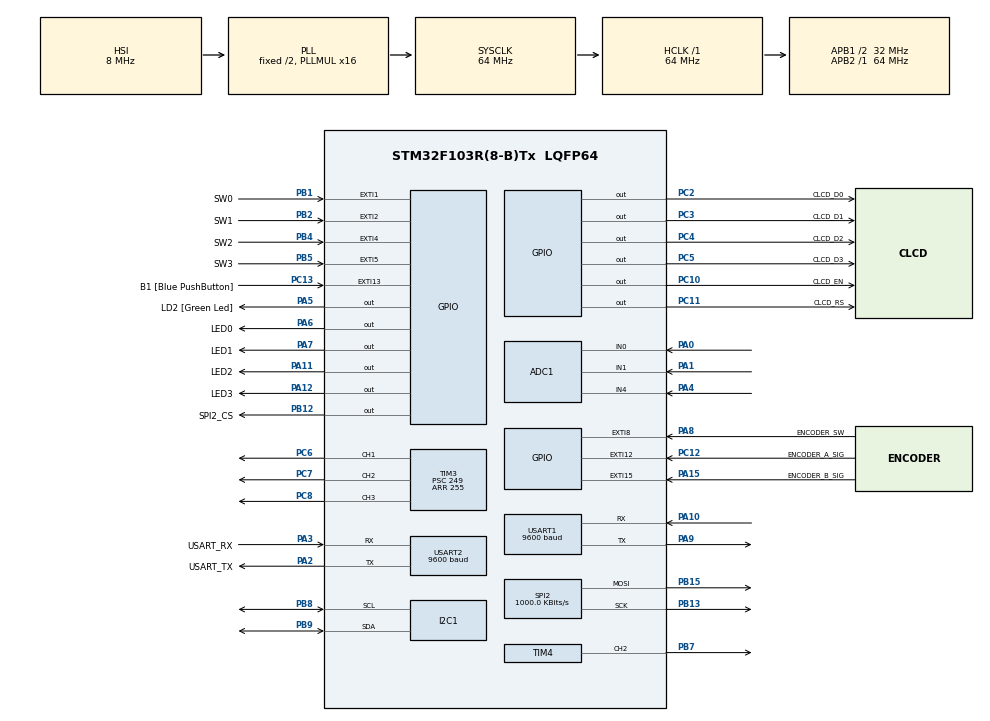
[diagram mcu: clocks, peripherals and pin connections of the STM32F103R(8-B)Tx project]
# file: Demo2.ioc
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ADC1.Channel-0\#ChannelRegularConversion=ADC_CHANNEL_0
ADC1.Channel-3\#ChannelRegularConversion=ADC_CHANNEL_1
ADC1.Channel-5\#ChannelRegularConversion=ADC_CHANNEL_4
ADC1.ContinuousConvMode=ENABLE
ADC1.NbrOfConversion=3
ADC1.NbrOfConversionFlag=1
ADC1.Rank-0\#ChannelRegularConversion=1
ADC1.Rank-3\#ChannelRegularConversion=2
ADC1.Rank-5\#ChannelRegularConversion=3
ADC1.SamplingTime-0\#ChannelRegularConversion=ADC_SAMPLETIME_239CYCLES_5
ADC1.SamplingTime-3\#ChannelRegularConversion=ADC_SAMPLETIME_239CYCLES_5
ADC1.SamplingTime-5\#ChannelRegularConversion=ADC_SAMPLETIME_239CYCLES_5
ADC1.master=1
Dma.ADC1.0.Direction=DMA_PERIPH_TO_MEMORY
Dma.ADC1.0.Instance=DMA1_Channel1
Dma.ADC1.0.MemDataAlignment=DMA_MDATAALIGN_HALFWORD
Dma.ADC1.0.MemInc=DMA_MINC_ENABLE
Dma.ADC1.0.Mode=DMA_CIRCULAR
Dma.ADC1.0.PeriphDataAlignment=DMA_PDATAALIGN_HALFWORD
Dma.ADC1.0.PeriphInc=DMA_PINC_DISABLE
Dma.ADC1.0.Priority=DMA_PRIORITY_LOW
Dma.Request0=ADC1
I2C1.I2C_Mode=I2C_Fast
Mcu.Family=STM32F1
Mcu.Name=STM32F103R(8-B)Tx
Mcu.Package=LQFP64
NVIC.DMA1_Channel1_IRQn=true\:0\:0\:false\:false\:true\:false\:true\:true
NVIC.EXTI15_10_IRQn=true\:0\:0\:false\:false\:true\:true\:true\:true
NVIC.EXTI1_IRQn=true\:0\:0\:false\:false\:true\:true\:true\:true
NVIC.EXTI2_IRQn=true\:0\:0\:false\:false\:true\:true\:true\:true
NVIC.EXTI4_IRQn=true\:0\:0\:false\:false\:true\:true\:true\:true
NVIC.EXTI9_5_IRQn=true\:0\:0\:false\:false\:true\:true\:true\:true
NVIC.PriorityGroup=NVIC_PRIORITYGROUP_4
NVIC.TIM2_IRQn=true\:0\:0\:false\:false\:true\:true\:true\:true
NVIC.USART1_IRQn=true\:0\:0\:false\:false\:true\:true\:false\:true
PA0-WKUP.Signal=ADCx_IN0
PA1.Signal=ADCx_IN1
PA10.Mode=Asynchronous
PA10.Signal=USART1_RX
PA11.GPIO_Label=LED2
PA11.Signal=GPIO_Output
PA12.GPIO_Label=LED3
PA12.Signal=GPIO_Output
PA13.GPIO_Label=TMS
PA13.Mode=Serial_Wire
PA13.Signal=SYS_JTMS-SWDIO
PA14.GPIO_Label=TCK
PA14.Mode=Serial_Wire
PA14.Signal=SYS_JTCK-SWCLK
PA15.GPIO_Label=ENCODER_B_SIG
PA15.Signal=GPXTI15
PA2.GPIO_Label=USART_TX
PA2.GPIO_Mode=GPIO_MODE_AF_PP
PA2.GPIO_PuPd=GPIO_NOPULL
PA2.GPIO_Speed=GPIO_SPEED_FREQ_LOW
PA2.Mode=Asynchronous
PA2.Signal=USART2_TX
PA3.GPIO_Label=USART_RX
PA3.GPIO_Mode=GPIO_MODE_AF_PP
PA3.GPIO_PuPd=GPIO_NOPULL
PA3.GPIO_Speed=GPIO_SPEED_FREQ_LOW
PA3.Mode=Asynchronous
PA3.Signal=USART2_RX
PA4.Signal=ADCx_IN4
PA5.GPIO_Label=LD2 [Green Led]
PA5.GPIO_ModeDefaultOutputPP=GPIO_MODE_OUTPUT_PP
PA5.GPIO_PuPd=GPIO_NOPULL
PA5.GPIO_Speed=GPIO_SPEED_FREQ_LOW
PA5.Signal=GPIO_Output
PA6.GPIO_Label=LED0
PA6.Signal=GPIO_Output
PA7.GPIO_Label=LED1
PA7.Signal=GPIO_Output
PA8.GPIO_Label=ENCODER_SW
PA8.GPIO_ModeDefaultEXTI=GPIO_MODE_IT_FALLING
PA8.Signal=GPXTI8
PA9.Mode=Asynchronous
PA9.Signal=USART1_TX
PB1.GPIO_Label=SW0
PB1.GPIO_ModeDefaultEXTI=GPIO_MODE_IT_RISING_FALLING
PB1.Signal=GPXTI1
PB12.GPIO_Label=SPI2_CS
PB12.Signal=GPIO_Output
PB13.Mode=TX_Only_Simplex_Unidirect_Master
PB13.Signal=SPI2_SCK
PB15.Mode=TX_Only_Simplex_Unidirect_Master
PB15.Signal=SPI2_MOSI
PB2.GPIO_Label=SW1
PB2.GPIO_ModeDefaultEXTI=GPIO_MODE_IT_RISING_FALLING
PB2.Signal=GPXTI2
PB3.GPIO_Label=SWO
PB3.Signal=SYS_JTDO-TRACESWO
PB4.GPIO_Label=SW2
PB4.GPIO_ModeDefaultEXTI=GPIO_MODE_IT_RISING_FALLING
PB4.Signal=GPXTI4
PB5.GPIO_Label=SW3
PB5.GPIO_ModeDefaultEXTI=GPIO_MODE_IT_RISING_FALLING
PB5.Signal=GPXTI5
PB7.Signal=S_TIM4_CH2
PB8.Mode=I2C
PB8.Signal=I2C1_SCL
PB9.Mode=I2C
PB9.Signal=I2C1_SDA
PC10.GPIO_Label=CLCD_EN
PC10.Signal=GPIO_Output
PC11.GPIO_Label=CLCD_RS
PC11.Signal=GPIO_Output
PC12.GPIO_Label=ENCODER_A_SIG
PC12.Signal=GPXTI12
PC13-TAMPER-RTC.GPIO_Label=B1 [Blue PushButton]
PC13-TAMPER-RTC.GPIO_PuPd=GPIO_NOPULL
PC13-TAMPER-RTC.Signal=GPXTI13
PC2.GPIO_Label=CLCD_D0
PC2.Signal=GPIO_Output
PC3.GPIO_Label=CLCD_D1
PC3.Signal=GPIO_Output
PC4.GPIO_Label=CLCD_D2
PC4.Signal=GPIO_Output
PC5.GPIO_Label=CLCD_D3
PC5.Signal=GPIO_Output
PC6.Signal=S_TIM3_CH1
PC7.Signal=S_TIM3_CH2
PC8.Signal=S_TIM3_CH3
ProjectManager.HeapSize=0x200
ProjectManager.StackSize=0x400
ProjectManager.TargetToolchain=STM32CubeIDE
RCC.ADCPresc=RCC_ADCPCLK2_DIV8
RCC.AHBFreq_Value=64000000
RCC.APB1CLKDivider=RCC_HCLK_DIV2
RCC.APB1Freq_Value=32000000
RCC.APB1TimFreq_Value=64000000
RCC.APB2Freq_Value=64000000
RCC.APB2TimFreq_Value=64000000
RCC.HCLKFreq_Value=64000000
RCC.PLLMUL=RCC_PLL_MUL16
RCC.RTCClockSelection=RCC_RTCCLKSOURCE_LSE
RCC.SYSCLKFreq_VALUE=64000000
RCC.SYSCLKSource=RCC_SYSCLKSOURCE_PLLCLK
RCC.USBFreq_Value=64000000
SH.ADCx_IN0.0=ADC1_IN0,IN0
SH.ADCx_IN1.0=ADC1_IN1,IN1
SH.ADCx_IN4.0=ADC1_IN4,IN4
SH.S_TIM3_CH1.0=TIM3_CH1,PWM Generation1 CH1
SH.S_TIM3_CH2.0=TIM3_CH2,PWM Generation2 CH2
SH.S_TIM3_CH3.0=TIM3_CH3,PWM Generation3 CH3
SH.S_TIM4_CH2.0=TIM4_CH2,PWM Generation2 CH2
SPI2.BaudRatePrescaler=SPI_BAUDRATEPRESCALER_32
SPI2.CLKPhase=SPI_PHASE_2EDGE
SPI2.CalculateBaudRate=1000.0 KBits/s
SPI2.Direction=SPI_DIRECTION_2LINES
SPI2.Mode=SPI_MODE_MASTER
SPI2.VirtualType=VM_MASTER
TIM2.Period=49999
TIM2.Prescaler=63
TIM3.Channel-PWM\ Generation1\ CH1=TIM_CHANNEL_1
TIM3.Channel-PWM\ Generation2\ CH2=TIM_CHANNEL_2
TIM3.Channel-PWM\ Generation3\ CH3=TIM_CHANNEL_3
TIM3.Period=255
TIM3.Prescaler=249
TIM4.Channel-PWM\ Generation2\ CH2=TIM_CHANNEL_2
TIM4.OCPolarity_2=TIM_OCPOLARITY_LOW
TIM4.Period=19999
TIM4.Prescaler=63
TIM4.Pulse-PWM\ Generation2\ CH2=1500
USART1.BaudRate=9600
USART1.VirtualMode=VM_ASYNC
USART2.BaudRate=9600
USART2.VirtualMode=VM_ASYNC
VP_TIM2_VS_ClockSourceINT.Mode=Internal
VP_TIM3_VS_ClockSourceINT.Mode=Internal
VP_TIM4_VS_ClockSourceINT.Mode=Internal
board=NUCLEO-F103RB

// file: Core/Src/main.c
/* USER CODE BEGIN Header */
/**
 ******************************************************************************
 * @file           : main.c
 * @brief          : Main program body
 ******************************************************************************
 * @attention
 *
 * Copyright (c) 2024 STMicroelectronics.
 * All rights reserved.
 *
 * This software is licensed under terms that can be found in the LICENSE file
 * in the root directory of this software component.
 * If no LICENSE file comes with this software, it is provided AS-IS.
 *
 ******************************************************************************
 */
/* USER CODE END Header */
#include "main.h"

/* USER CODE BEGIN Includes */

#include "hj_adc.h"
#include "hj_ble.h"
#include "hj_spi.h"
#include "hj_i2c.h"
#include "hj_tim.h"
#include "hj_gpio.h"

/* USER CODE END Includes */

ADC_HandleTypeDef hadc1;
DMA_HandleTypeDef hdma_adc1;

I2C_HandleTypeDef hi2c1;

SPI_HandleTypeDef hspi2;

TIM_HandleTypeDef htim2;
TIM_HandleTypeDef htim3;
TIM_HandleTypeDef htim4;

UART_HandleTypeDef huart1;
UART_HandleTypeDef huart2;

/* USER CODE BEGIN PV */

uint8_t nextTxFeature = TX_VAR;
uint16_t i = 0;
uint8_t rxCmd = 0;
char rxBuffer[21] = {0};

/* USER CODE END PV */

void SystemClock_Config(void);
static void MX_GPIO_Init(void);
static void MX_DMA_Init(void);
static void MX_USART2_UART_Init(void);
static void MX_USART1_UART_Init(void);
static void MX_ADC1_Init(void);
static void MX_TIM4_Init(void);
static void MX_I2C1_Init(void);
static void MX_SPI2_Init(void);
static void MX_TIM2_Init(void);
static void MX_TIM3_Init(void);
/* USER CODE BEGIN PFP */

static void Demo2_Initialize(void);
static void Demo2_Tx_Data(void);
static void Demo2_Rx_Data(void);

/* USER CODE END PFP */

int main(void)
{

	/* MCU Configuration--------------------------------------------------------*/

	/* Reset of all peripherals, Initializes the Flash interface and the Systick. */
	HAL_Init();

	/* Configure the system clock */
	SystemClock_Config();

	/* Initialize all configured peripherals */
	MX_GPIO_Init();
	MX_DMA_Init();
	MX_USART2_UART_Init();
	MX_USART1_UART_Init();
	MX_ADC1_Init();
	MX_TIM4_Init();
	MX_I2C1_Init();
	MX_SPI2_Init();
	MX_TIM2_Init();
	MX_TIM3_Init();
	/* USER CODE BEGIN 2 */

	Demo2_Initialize();

	__HAL_UART_ENABLE_IT(&huart1, UART_IT_RXNE);

	/* USER CODE END 2 */

	/* Infinite loop */
	/* USER CODE BEGIN WHILE */

	while (1)
	{
		if (TIM_Check_TIM2_flag()) {
			TIM_Reset_TIM2_flag();
			DAC7512_write(&hspi2);
			Demo2_Tx_Data();
		}

		if (BLE_Check_Rx_start()) {
			Demo2_Rx_Data();
		}

		/* USER CODE END WHILE */

	}
}

void SystemClock_Config(void)
{
	RCC_OscInitTypeDef RCC_OscInitStruct = {0};
	RCC_ClkInitTypeDef RCC_ClkInitStruct = {0};
	RCC_PeriphCLKInitTypeDef PeriphClkInit = {0};

	/** Initializes the RCC Oscillators according to the specified parameters
	 * in the RCC_OscInitTypeDef structure.
	 */
	RCC_OscInitStruct.OscillatorType = RCC_OSCILLATORTYPE_HSI;
	RCC_OscInitStruct.HSIState = RCC_HSI_ON;
	RCC_OscInitStruct.HSICalibrationValue = RCC_HSICALIBRATION_DEFAULT;
	RCC_OscInitStruct.PLL.PLLState = RCC_PLL_ON;
	RCC_OscInitStruct.PLL.PLLSource = RCC_PLLSOURCE_HSI_DIV2;
	RCC_OscInitStruct.PLL.PLLMUL = RCC_PLL_MUL16;
	if (HAL_RCC_OscConfig(&RCC_OscInitStruct) != HAL_OK)
	{
		Error_Handler();
	}

	/** Initializes the CPU, AHB and APB buses clocks
	 */
	RCC_ClkInitStruct.ClockType = RCC_CLOCKTYPE_HCLK|RCC_CLOCKTYPE_SYSCLK
			|RCC_CLOCKTYPE_PCLK1|RCC_CLOCKTYPE_PCLK2;
	RCC_ClkInitStruct.SYSCLKSource = RCC_SYSCLKSOURCE_PLLCLK;
	RCC_ClkInitStruct.AHBCLKDivider = RCC_SYSCLK_DIV1;
	RCC_ClkInitStruct.APB1CLKDivider = RCC_HCLK_DIV2;
	RCC_ClkInitStruct.APB2CLKDivider = RCC_HCLK_DIV1;

	if (HAL_RCC_ClockConfig(&RCC_ClkInitStruct, FLASH_LATENCY_2) != HAL_OK)
	{
		Error_Handler();
	}
	PeriphClkInit.PeriphClockSelection = RCC_PERIPHCLK_ADC;
	PeriphClkInit.AdcClockSelection = RCC_ADCPCLK2_DIV8;
	if (HAL_RCCEx_PeriphCLKConfig(&PeriphClkInit) != HAL_OK)
	{
		Error_Handler();
	}
}

static void MX_ADC1_Init(void)
{

	ADC_ChannelConfTypeDef sConfig = {0};

	/** Common config
	 */
	hadc1.Instance = ADC1;
	hadc1.Init.ScanConvMode = ADC_SCAN_ENABLE;
	hadc1.Init.ContinuousConvMode = ENABLE;
	hadc1.Init.DiscontinuousConvMode = DISABLE;
	hadc1.Init.ExternalTrigConv = ADC_SOFTWARE_START;
	hadc1.Init.DataAlign = ADC_DATAALIGN_RIGHT;
	hadc1.Init.NbrOfConversion = 3;
	if (HAL_ADC_Init(&hadc1) != HAL_OK)
	{
		Error_Handler();
	}

	/** Configure Regular Channel
	 */
	sConfig.Channel = ADC_CHANNEL_0;
	sConfig.Rank = ADC_REGULAR_RANK_1;
	sConfig.SamplingTime = ADC_SAMPLETIME_239CYCLES_5;
	if (HAL_ADC_ConfigChannel(&hadc1, &sConfig) != HAL_OK)
	{
		Error_Handler();
	}

	/** Configure Regular Channel
	 */
	sConfig.Channel = ADC_CHANNEL_1;
	sConfig.Rank = ADC_REGULAR_RANK_2;
	if (HAL_ADC_ConfigChannel(&hadc1, &sConfig) != HAL_OK)
	{
		Error_Handler();
	}

	/** Configure Regular Channel
	 */
	sConfig.Channel = ADC_CHANNEL_4;
	sConfig.Rank = ADC_REGULAR_RANK_3;
	if (HAL_ADC_ConfigChannel(&hadc1, &sConfig) != HAL_OK)
	{
		Error_Handler();
	}

}

static void MX_I2C1_Init(void)
{

	hi2c1.Instance = I2C1;
	hi2c1.Init.ClockSpeed = 400000;
	hi2c1.Init.DutyCycle = I2C_DUTYCYCLE_2;
	hi2c1.Init.OwnAddress1 = 0;
	hi2c1.Init.AddressingMode = I2C_ADDRESSINGMODE_7BIT;
	hi2c1.Init.DualAddressMode = I2C_DUALADDRESS_DISABLE;
	hi2c1.Init.OwnAddress2 = 0;
	hi2c1.Init.GeneralCallMode = I2C_GENERALCALL_DISABLE;
	hi2c1.Init.NoStretchMode = I2C_NOSTRETCH_DISABLE;
	if (HAL_I2C_Init(&hi2c1) != HAL_OK)
	{
		Error_Handler();
	}

}

static void MX_SPI2_Init(void)
{

	/* SPI2 parameter configuration*/
	hspi2.Instance = SPI2;
	hspi2.Init.Mode = SPI_MODE_MASTER;
	hspi2.Init.Direction = SPI_DIRECTION_2LINES;
	hspi2.Init.DataSize = SPI_DATASIZE_8BIT;
	hspi2.Init.CLKPolarity = SPI_POLARITY_LOW;
	hspi2.Init.CLKPhase = SPI_PHASE_2EDGE;
	hspi2.Init.NSS = SPI_NSS_SOFT;
	hspi2.Init.BaudRatePrescaler = SPI_BAUDRATEPRESCALER_32;
	hspi2.Init.FirstBit = SPI_FIRSTBIT_MSB;
	hspi2.Init.TIMode = SPI_TIMODE_DISABLE;
	hspi2.Init.CRCCalculation = SPI_CRCCALCULATION_DISABLE;
	hspi2.Init.CRCPolynomial = 10;
	if (HAL_SPI_Init(&hspi2) != HAL_OK)
	{
		Error_Handler();
	}

}

static void MX_TIM2_Init(void)
{

	TIM_ClockConfigTypeDef sClockSourceConfig = {0};
	TIM_MasterConfigTypeDef sMasterConfig = {0};

	htim2.Instance = TIM2;
	htim2.Init.Prescaler = 63;
	htim2.Init.CounterMode = TIM_COUNTERMODE_UP;
	htim2.Init.Period = 49999;
	htim2.Init.ClockDivision = TIM_CLOCKDIVISION_DIV1;
	htim2.Init.AutoReloadPreload = TIM_AUTORELOAD_PRELOAD_DISABLE;
	if (HAL_TIM_Base_Init(&htim2) != HAL_OK)
	{
		Error_Handler();
	}
	sClockSourceConfig.ClockSource = TIM_CLOCKSOURCE_INTERNAL;
	if (HAL_TIM_ConfigClockSource(&htim2, &sClockSourceConfig) != HAL_OK)
	{
		Error_Handler();
	}
	sMasterConfig.MasterOutputTrigger = TIM_TRGO_RESET;
	sMasterConfig.MasterSlaveMode = TIM_MASTERSLAVEMODE_DISABLE;
	if (HAL_TIMEx_MasterConfigSynchronization(&htim2, &sMasterConfig) != HAL_OK)
	{
		Error_Handler();
	}

}

static void MX_TIM3_Init(void)
{

	TIM_ClockConfigTypeDef sClockSourceConfig = {0};
	TIM_MasterConfigTypeDef sMasterConfig = {0};
	TIM_OC_InitTypeDef sConfigOC = {0};

	htim3.Instance = TIM3;
	htim3.Init.Prescaler = 249;
	htim3.Init.CounterMode = TIM_COUNTERMODE_UP;
	htim3.Init.Period = 255;
	htim3.Init.ClockDivision = TIM_CLOCKDIVISION_DIV1;
	htim3.Init.AutoReloadPreload = TIM_AUTORELOAD_PRELOAD_DISABLE;
	if (HAL_TIM_Base_Init(&htim3) != HAL_OK)
	{
		Error_Handler();
	}
	sClockSourceConfig.ClockSource = TIM_CLOCKSOURCE_INTERNAL;
	if (HAL_TIM_ConfigClockSource(&htim3, &sClockSourceConfig) != HAL_OK)
	{
		Error_Handler();
	}
	if (HAL_TIM_PWM_Init(&htim3) != HAL_OK)
	{
		Error_Handler();
	}
	sMasterConfig.MasterOutputTrigger = TIM_TRGO_RESET;
	sMasterConfig.MasterSlaveMode = TIM_MASTERSLAVEMODE_DISABLE;
	if (HAL_TIMEx_MasterConfigSynchronization(&htim3, &sMasterConfig) != HAL_OK)
	{
		Error_Handler();
	}
	sConfigOC.OCMode = TIM_OCMODE_PWM1;
	sConfigOC.Pulse = 0;
	sConfigOC.OCPolarity = TIM_OCPOLARITY_HIGH;
	sConfigOC.OCFastMode = TIM_OCFAST_DISABLE;
	if (HAL_TIM_PWM_ConfigChannel(&htim3, &sConfigOC, TIM_CHANNEL_1) != HAL_OK)
	{
		Error_Handler();
	}
	if (HAL_TIM_PWM_ConfigChannel(&htim3, &sConfigOC, TIM_CHANNEL_2) != HAL_OK)
	{
		Error_Handler();
	}
	if (HAL_TIM_PWM_ConfigChannel(&htim3, &sConfigOC, TIM_CHANNEL_3) != HAL_OK)
	{
		Error_Handler();
	}
	HAL_TIM_MspPostInit(&htim3);

}

static void MX_TIM4_Init(void)
{

	TIM_ClockConfigTypeDef sClockSourceConfig = {0};
	TIM_MasterConfigTypeDef sMasterConfig = {0};
	TIM_OC_InitTypeDef sConfigOC = {0};

	htim4.Instance = TIM4;
	htim4.Init.Prescaler = 63;
	htim4.Init.CounterMode = TIM_COUNTERMODE_UP;
	htim4.Init.Period = 19999;
	htim4.Init.ClockDivision = TIM_CLOCKDIVISION_DIV1;
	htim4.Init.AutoReloadPreload = TIM_AUTORELOAD_PRELOAD_DISABLE;
	if (HAL_TIM_Base_Init(&htim4) != HAL_OK)
	{
		Error_Handler();
	}
	sClockSourceConfig.ClockSource = TIM_CLOCKSOURCE_INTERNAL;
	if (HAL_TIM_ConfigClockSource(&htim4, &sClockSourceConfig) != HAL_OK)
	{
		Error_Handler();
	}
	if (HAL_TIM_PWM_Init(&htim4) != HAL_OK)
	{
		Error_Handler();
	}
	sMasterConfig.MasterOutputTrigger = TIM_TRGO_RESET;
	sMasterConfig.MasterSlaveMode = TIM_MASTERSLAVEMODE_DISABLE;
	if (HAL_TIMEx_MasterConfigSynchronization(&htim4, &sMasterConfig) != HAL_OK)
	{
		Error_Handler();
	}
	sConfigOC.OCMode = TIM_OCMODE_PWM1;
	sConfigOC.Pulse = 1500;
	sConfigOC.OCPolarity = TIM_OCPOLARITY_LOW;
	sConfigOC.OCFastMode = TIM_OCFAST_DISABLE;
	if (HAL_TIM_PWM_ConfigChannel(&htim4, &sConfigOC, TIM_CHANNEL_2) != HAL_OK)
	{
		Error_Handler();
	}
	HAL_TIM_MspPostInit(&htim4);

}

static void MX_USART1_UART_Init(void)
{

	huart1.Instance = USART1;
	huart1.Init.BaudRate = 9600;
	huart1.Init.WordLength = UART_WORDLENGTH_8B;
	huart1.Init.StopBits = UART_STOPBITS_1;
	huart1.Init.Parity = UART_PARITY_NONE;
	huart1.Init.Mode = UART_MODE_TX_RX;
	huart1.Init.HwFlowCtl = UART_HWCONTROL_NONE;
	huart1.Init.OverSampling = UART_OVERSAMPLING_16;
	if (HAL_UART_Init(&huart1) != HAL_OK)
	{
		Error_Handler();
	}

}

static void MX_USART2_UART_Init(void)
{

	huart2.Instance = USART2;
	huart2.Init.BaudRate = 9600;
	huart2.Init.WordLength = UART_WORDLENGTH_8B;
	huart2.Init.StopBits = UART_STOPBITS_1;
	huart2.Init.Parity = UART_PARITY_NONE;
	huart2.Init.Mode = UART_MODE_TX_RX;
	huart2.Init.HwFlowCtl = UART_HWCONTROL_NONE;
	huart2.Init.OverSampling = UART_OVERSAMPLING_16;
	if (HAL_UART_Init(&huart2) != HAL_OK)
	{
		Error_Handler();
	}

}

static void MX_DMA_Init(void)
{

	/* DMA controller clock enable */
	__HAL_RCC_DMA1_CLK_ENABLE();

	/* DMA interrupt init */
	/* DMA1_Channel1_IRQn interrupt configuration */
	HAL_NVIC_SetPriority(DMA1_Channel1_IRQn, 0, 0);
	HAL_NVIC_EnableIRQ(DMA1_Channel1_IRQn);

}

static void MX_GPIO_Init(void)
{
	GPIO_InitTypeDef GPIO_InitStruct = {0};

	/* GPIO Ports Clock Enable */
	__HAL_RCC_GPIOC_CLK_ENABLE();
	__HAL_RCC_GPIOA_CLK_ENABLE();
	__HAL_RCC_GPIOB_CLK_ENABLE();

	/*Configure GPIO pin Output Level */
	HAL_GPIO_WritePin(GPIOC, CLCD_D0_Pin|CLCD_D1_Pin|CLCD_D2_Pin|CLCD_D3_Pin
			|CLCD_EN_Pin|CLCD_RS_Pin, GPIO_PIN_RESET);

	/*Configure GPIO pin Output Level */
	HAL_GPIO_WritePin(GPIOA, LD2_Pin|LED0_Pin|LED1_Pin|LED2_Pin
			|LED3_Pin, GPIO_PIN_RESET);

	/*Configure GPIO pin Output Level */
	HAL_GPIO_WritePin(SPI2_CS_GPIO_Port, SPI2_CS_Pin, GPIO_PIN_RESET);

	/*Configure GPIO pins : B1_Pin ENCODER_A_SIG_Pin */
	GPIO_InitStruct.Pin = B1_Pin|ENCODER_A_SIG_Pin;
	GPIO_InitStruct.Mode = GPIO_MODE_IT_RISING;
	GPIO_InitStruct.Pull = GPIO_NOPULL;
	HAL_GPIO_Init(GPIOC, &GPIO_InitStruct);

	/*Configure GPIO pins : CLCD_D0_Pin CLCD_D1_Pin CLCD_D2_Pin CLCD_D3_Pin
                           CLCD_EN_Pin CLCD_RS_Pin */
	GPIO_InitStruct.Pin = CLCD_D0_Pin|CLCD_D1_Pin|CLCD_D2_Pin|CLCD_D3_Pin
			|CLCD_EN_Pin|CLCD_RS_Pin;
	GPIO_InitStruct.Mode = GPIO_MODE_OUTPUT_PP;
	GPIO_InitStruct.Pull = GPIO_NOPULL;
	GPIO_InitStruct.Speed = GPIO_SPEED_FREQ_LOW;
	HAL_GPIO_Init(GPIOC, &GPIO_InitStruct);

	/*Configure GPIO pins : LD2_Pin LED0_Pin LED1_Pin LED2_Pin
                           LED3_Pin */
	GPIO_InitStruct.Pin = LD2_Pin|LED0_Pin|LED1_Pin|LED2_Pin
			|LED3_Pin;
	GPIO_InitStruct.Mode = GPIO_MODE_OUTPUT_PP;
	GPIO_InitStruct.Pull = GPIO_NOPULL;
	GPIO_InitStruct.Speed = GPIO_SPEED_FREQ_LOW;
	HAL_GPIO_Init(GPIOA, &GPIO_InitStruct);

	/*Configure GPIO pins : SW0_Pin SW1_Pin SW2_Pin SW3_Pin */
	GPIO_InitStruct.Pin = SW0_Pin|SW1_Pin|SW2_Pin|SW3_Pin;
	GPIO_InitStruct.Mode = GPIO_MODE_IT_RISING_FALLING;
	GPIO_InitStruct.Pull = GPIO_NOPULL;
	HAL_GPIO_Init(GPIOB, &GPIO_InitStruct);

	/*Configure GPIO pin : SPI2_CS_Pin */
	GPIO_InitStruct.Pin = SPI2_CS_Pin;
	GPIO_InitStruct.Mode = GPIO_MODE_OUTPUT_PP;
	GPIO_InitStruct.Pull = GPIO_NOPULL;
	GPIO_InitStruct.Speed = GPIO_SPEED_FREQ_LOW;
	HAL_GPIO_Init(SPI2_CS_GPIO_Port, &GPIO_InitStruct);

	/*Configure GPIO pin : ENCODER_SW_Pin */
	GPIO_InitStruct.Pin = ENCODER_SW_Pin;
	GPIO_InitStruct.Mode = GPIO_MODE_IT_FALLING;
	GPIO_InitStruct.Pull = GPIO_NOPULL;
	HAL_GPIO_Init(ENCODER_SW_GPIO_Port, &GPIO_InitStruct);

	/*Configure GPIO pin : ENCODER_B_SIG_Pin */
	GPIO_InitStruct.Pin = ENCODER_B_SIG_Pin;
	GPIO_InitStruct.Mode = GPIO_MODE_IT_RISING;
	GPIO_InitStruct.Pull = GPIO_NOPULL;
	HAL_GPIO_Init(ENCODER_B_SIG_GPIO_Port, &GPIO_InitStruct);

	/* EXTI interrupt init*/
	HAL_NVIC_SetPriority(EXTI1_IRQn, 0, 0);
	HAL_NVIC_EnableIRQ(EXTI1_IRQn);

	HAL_NVIC_SetPriority(EXTI2_IRQn, 0, 0);
	HAL_NVIC_EnableIRQ(EXTI2_IRQn);

	HAL_NVIC_SetPriority(EXTI4_IRQn, 0, 0);
	HAL_NVIC_EnableIRQ(EXTI4_IRQn);

	HAL_NVIC_SetPriority(EXTI9_5_IRQn, 0, 0);
	HAL_NVIC_EnableIRQ(EXTI9_5_IRQn);

	HAL_NVIC_SetPriority(EXTI15_10_IRQn, 0, 0);
	HAL_NVIC_EnableIRQ(EXTI15_10_IRQn);

}

/* USER CODE BEGIN 4 */

void Demo2_Initialize(void)
{
	ADC_Start(&hadc1);
	I2C_Start(&hi2c1);
	Servo_Start(&htim4);
	RGB_Start(&htim3);
	GPIO_CLCD_start();
	BLE_HM10_Init(&huart1);
	TxTimer_Start(&htim2);
//	__HAL_UART_ENABLE_IT(&huart1, UART_IT_RXNE);

	HAL_Delay(100);
}

void Demo2_Tx_Data(void)
{
	uint8_t txBuffer[10] = {0};
	int index = 0;

	txBuffer[index++] = STX;
	txBuffer[index++] = BLE_CMD_R;

	switch (nextTxFeature)
	{
	case TX_VAR:
		nextTxFeature = TX_CDS;

		uint16_t var = ADC_Get_VAR();

		txBuffer[index++] = BLE_DEVICE_VAR;
		txBuffer[index++] = 2;
		txBuffer[index++] = var;
		txBuffer[index++] = var >> 8;

		break;

	case TX_CDS:
		nextTxFeature = TX_TC1047;

		uint16_t cds = ADC_Get_CDS();

		txBuffer[index++] = BLE_DEVICE_CDS;
		txBuffer[index++] = 2;
		txBuffer[index++] = cds;
		txBuffer[index++] = cds >> 8;

		break;

	case TX_TC1047:
		nextTxFeature = TX_ENCODER;

		uint32_t tcTemp = ADC_Get_TC1014();

		txBuffer[index++] = BLE_DEVICE_TC1047;
		txBuffer[index++] = 4;

		for (i = 0; i < 4; ++i)
			txBuffer[index++] = (tcTemp >> (8 * i));

		break;

	case TX_ENCODER:
		nextTxFeature = TX_HDC1080;

		int encoderTemp = GPIO_Get_Encoder_value();

		txBuffer[index++] = BLE_DEVICE_ENCODER;
		txBuffer[index++] = 4;

		for (i = 0; i < 4; ++i)
			txBuffer[index++] = (encoderTemp >> (8 * i));

		break;

	case TX_HDC1080:
		nextTxFeature = TX_LED;

		I2C_HDC1080_Get_values(&hi2c1);

		uint32_t i2c_temp = I2C_HDC1080_Get_temp();
		uint8_t i2c_hum = I2C_HDC1080_Get_hum();

		txBuffer[index++] = BLE_DEVICE_HDC1080;
		txBuffer[index++] = 5;

		for (i = 0; i < 4; ++i)
			txBuffer[index++] = (i2c_temp >> (8 * i));
		txBuffer[index++] = i2c_hum;

		break;

	case TX_LED:
		nextTxFeature = TX_RGB;

		int ledTemp = GPIO_Get_LED_state();

		txBuffer[index++] = BLE_DEVICE_LED;
		txBuffer[index++] = 4;

		for (i = 0; i < 4; ++i)
			txBuffer[index++] = (ledTemp >> (8 * i));

		break;

	case TX_RGB:
		nextTxFeature = TX_TSWITCH;

		txBuffer[index++] = BLE_DEVICE_RGB;
		txBuffer[index++] = 3;

		txBuffer[index++] = PWM_Get_red_value();
		txBuffer[index++] = PWM_Get_green_value();
		txBuffer[index++] = PWM_Get_blue_value();

		break;

	case TX_TSWITCH:
		nextTxFeature = TX_VAR;

		int switchTemp = GPIO_Get_SW_state();

		txBuffer[index++] = BLE_DEVICE_TSWITCH;
		txBuffer[index++] = 4;

		for (i = 0; i < 4; ++i)
			txBuffer[index++] = (switchTemp >> (8 * i));

		break;

	default:
		break;
	}

	txBuffer[index++] = ETX;
	HAL_UART_Transmit(&huart1, txBuffer, index, 50);
}

void Demo2_Rx_Data(void)
{
	BLE_Read_command(rxBuffer, sizeof(rxBuffer));

	switch(rxBuffer[2]) {
	case BLE_DEVICE_ENCODER:
	{
		int temp = 0;

		temp |= rxBuffer[4];
		temp |= rxBuffer[5] << 8;
		temp |= rxBuffer[6] << 16;
		temp |= rxBuffer[7] << 24;

		GPIO_Set_Encoder_value(temp);

		break;
	}
	case BLE_DEVICE_SERVO:
	{
		short temp = 0;

		temp |= rxBuffer[4];
		temp |= rxBuffer[5] << 8;

		PWM_Set_servo(&htim4, temp);

		break;
	}
	case BLE_DEVICE_DAC:
	{
		uint16_t temp = 0;

		temp |= rxBuffer[4];
		temp |= rxBuffer[5] << 8;

		DAC7512_Set_data(temp);

		break;
	}
	case BLE_DEVICE_LED:
	{
		GPIO_Set_LED(rxBuffer[7], rxBuffer[6], rxBuffer[5], rxBuffer[4]);
		break;
	}
	case BLE_DEVICE_RGB:
	{
		PWM_Set_RGB(&htim3, rxBuffer[4], rxBuffer[5], rxBuffer[6]);
		break;
	}
	case BLE_DEVICE_CLCD_L1:
	{
		GPIO_Set_CLCD(rxBuffer, 0);
		break;
	}
	case BLE_DEVICE_CLCD_L2:
	{
		GPIO_Set_CLCD(rxBuffer, 1);
		break;
	}
	default:
		break;
	}
}

/* USER CODE END 4 */

void Error_Handler(void)
{
	__disable_irq();
	while (1)
	{
	}
}
